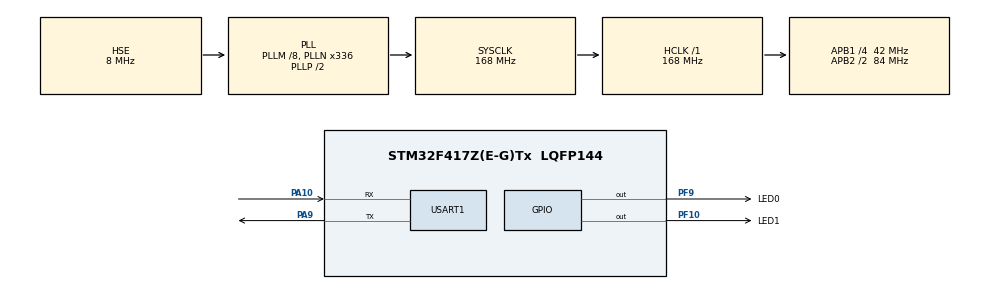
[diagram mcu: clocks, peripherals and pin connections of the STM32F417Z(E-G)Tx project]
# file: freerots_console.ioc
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Dma.Request0=USART1_RX
Dma.Request1=USART1_TX
Dma.USART1_RX.0.Channel=DMA_CHANNEL_4
Dma.USART1_RX.0.Direction=DMA_PERIPH_TO_MEMORY
Dma.USART1_RX.0.FIFOMode=DMA_FIFOMODE_DISABLE
Dma.USART1_RX.0.Instance=DMA2_Stream2
Dma.USART1_RX.0.MemDataAlignment=DMA_MDATAALIGN_BYTE
Dma.USART1_RX.0.MemInc=DMA_MINC_ENABLE
Dma.USART1_RX.0.Mode=DMA_NORMAL
Dma.USART1_RX.0.PeriphDataAlignment=DMA_PDATAALIGN_BYTE
Dma.USART1_RX.0.PeriphInc=DMA_PINC_DISABLE
Dma.USART1_RX.0.Priority=DMA_PRIORITY_LOW
Dma.USART1_TX.1.Channel=DMA_CHANNEL_4
Dma.USART1_TX.1.Direction=DMA_MEMORY_TO_PERIPH
Dma.USART1_TX.1.FIFOMode=DMA_FIFOMODE_DISABLE
Dma.USART1_TX.1.Instance=DMA2_Stream7
Dma.USART1_TX.1.MemDataAlignment=DMA_MDATAALIGN_BYTE
Dma.USART1_TX.1.MemInc=DMA_MINC_ENABLE
Dma.USART1_TX.1.Mode=DMA_NORMAL
Dma.USART1_TX.1.PeriphDataAlignment=DMA_PDATAALIGN_BYTE
Dma.USART1_TX.1.PeriphInc=DMA_PINC_DISABLE
Dma.USART1_TX.1.Priority=DMA_PRIORITY_LOW
FREERTOS.Queues01=Q_CmdReception,3,uint32_t,NULL
FREERTOS.Tasks01=ConsoleTask,0,128,StartTask_Console;LedBlinkyTask,0,128,StartTask_LedBlinky
Mcu.Family=STM32F4
Mcu.Name=STM32F417Z(E-G)Tx
Mcu.Package=LQFP144
NVIC.DMA2_Stream2_IRQn=true\:5\:0\:false
NVIC.DMA2_Stream7_IRQn=true\:5\:0\:false
NVIC.PriorityGroup=NVIC_PRIORITYGROUP_4
NVIC.USART1_IRQn=true\:5\:0\:false
PA10.Mode=Asynchronous
PA10.Signal=USART1_RX
PA9.Mode=Asynchronous
PA9.Signal=USART1_TX
PF10.GPIO_Label=LED1
PF10.Signal=GPIO_Output
PF9.GPIO_Label=LED0
PF9.Signal=GPIO_Output
PH0-OSC_IN.Mode=HSE-External-Oscillator
PH0-OSC_IN.Signal=RCC_OSC_IN
PH1-OSC_OUT.Mode=HSE-External-Oscillator
PH1-OSC_OUT.Signal=RCC_OSC_OUT
ProjectManager.TargetToolchain=MDK-ARM V5
RCC.48MHZClocksFreq_Value=84000000
RCC.AHBFreq_Value=168000000
RCC.APB1CLKDivider=RCC_HCLK_DIV4
RCC.APB1Freq_Value=42000000
RCC.APB1TimFreq_Value=84000000
RCC.APB2CLKDivider=RCC_HCLK_DIV2
RCC.APB2Freq_Value=84000000
RCC.APB2TimFreq_Value=168000000
RCC.CortexFreq_Value=168000000
RCC.HCLKFreq_Value=168000000
RCC.HSE_VALUE=8000000
RCC.HSI_VALUE=16000000
RCC.LSE_VALUE=32768
RCC.PLLM=8
RCC.PLLN=336
RCC.PLLSourceVirtual=RCC_PLLSOURCE_HSE
RCC.SYSCLKFreq_VALUE=168000000
RCC.SYSCLKSource=RCC_SYSCLKSOURCE_PLLCLK
RCC.VCOOutputFreq_Value=336000000
VP_FREERTOS_VS_ENABLE.Mode=Enabled
board=freerots_console

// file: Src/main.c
/**
  ******************************************************************************
  * File Name          : main.c
  * Description        : Main program body
  ******************************************************************************
  *
  * COPYRIGHT(c) 2015 STMicroelectronics
  *
  * Redistribution and use in source and binary forms, with or without modification,
  * are permitted provided that the following conditions are met:
  *   1. Redistributions of source code must retain the above copyright notice,
  *      this list of conditions and the following disclaimer.
  *   2. Redistributions in binary form must reproduce the above copyright notice,
  *      this list of conditions and the following disclaimer in the documentation
  *      and/or other materials provided with the distribution.
  *   3. Neither the name of STMicroelectronics nor the names of its contributors
  *      may be used to endorse or promote products derived from this software
  *      without specific prior written permission.
  *
  * THIS SOFTWARE IS PROVIDED BY THE COPYRIGHT HOLDERS AND CONTRIBUTORS "AS IS"
  * AND ANY EXPRESS OR IMPLIED WARRANTIES, INCLUDING, BUT NOT LIMITED TO, THE
  * IMPLIED WARRANTIES OF MERCHANTABILITY AND FITNESS FOR A PARTICULAR PURPOSE ARE
  * DISCLAIMED. IN NO EVENT SHALL THE COPYRIGHT HOLDER OR CONTRIBUTORS BE LIABLE
  * FOR ANY DIRECT, INDIRECT, INCIDENTAL, SPECIAL, EXEMPLARY, OR CONSEQUENTIAL
  * DAMAGES (INCLUDING, BUT NOT LIMITED TO, PROCUREMENT OF SUBSTITUTE GOODS OR
  * SERVICES; LOSS OF USE, DATA, OR PROFITS; OR BUSINESS INTERRUPTION) HOWEVER
  * CAUSED AND ON ANY THEORY OF LIABILITY, WHETHER IN CONTRACT, STRICT LIABILITY,
  * OR TORT (INCLUDING NEGLIGENCE OR OTHERWISE) ARISING IN ANY WAY OUT OF THE USE
  * OF THIS SOFTWARE, EVEN IF ADVISED OF THE POSSIBILITY OF SUCH DAMAGE.
  *
  ******************************************************************************
  */
#include "stm32f4xx_hal.h"
#include "cmsis_os.h"
#include "dma.h"
#include "usart.h"
#include "gpio.h"

/* USER CODE BEGIN Includes */
#include "ConfigManagement.h"
/* USER CODE END Includes */

/* USER CODE BEGIN PV */
/* Private variables ---------------------------------------------------------*/

/* USER CODE END PV */

void SystemClock_Config(void);
void MX_FREERTOS_Init(void);

/* USER CODE BEGIN PFP */
/* Private function prototypes -----------------------------------------------*/

/* USER CODE END PFP */

int main(void)
{

  /* MCU Configuration----------------------------------------------------------*/

  /* Reset of all peripherals, Initializes the Flash interface and the Systick. */
  HAL_Init();

  /* Configure the system clock */
  SystemClock_Config();

  /* Initialize all configured peripherals */
  MX_GPIO_Init();
  MX_DMA_Init();
  MX_USART1_UART_Init();

  /* USER CODE BEGIN 2 */
	ReadConfiguration();				// Read configurations from the internal flash.
  /* USER CODE END 2 */

  /* Call init function for freertos objects (in freertos.c) */
  MX_FREERTOS_Init();

  /* Start scheduler */
  osKernelStart();

  /* We should never get here as control is now taken by the scheduler */

  /* Infinite loop */
  while (1)
  {

  }

}

/** System Clock Configuration
*/
void SystemClock_Config(void)
{

  RCC_OscInitTypeDef RCC_OscInitStruct;
  RCC_ClkInitTypeDef RCC_ClkInitStruct;

  __PWR_CLK_ENABLE();

  __HAL_PWR_VOLTAGESCALING_CONFIG(PWR_REGULATOR_VOLTAGE_SCALE1);

  RCC_OscInitStruct.OscillatorType = RCC_OSCILLATORTYPE_HSE;
  RCC_OscInitStruct.HSEState = RCC_HSE_ON;
  RCC_OscInitStruct.PLL.PLLState = RCC_PLL_ON;
  RCC_OscInitStruct.PLL.PLLSource = RCC_PLLSOURCE_HSE;
  RCC_OscInitStruct.PLL.PLLM = 8;
  RCC_OscInitStruct.PLL.PLLN = 336;
  RCC_OscInitStruct.PLL.PLLP = RCC_PLLP_DIV2;
  RCC_OscInitStruct.PLL.PLLQ = 4;
  HAL_RCC_OscConfig(&RCC_OscInitStruct);

  RCC_ClkInitStruct.ClockType = RCC_CLOCKTYPE_SYSCLK|RCC_CLOCKTYPE_PCLK1
                              |RCC_CLOCKTYPE_PCLK2;
  RCC_ClkInitStruct.SYSCLKSource = RCC_SYSCLKSOURCE_PLLCLK;
  RCC_ClkInitStruct.AHBCLKDivider = RCC_SYSCLK_DIV1;
  RCC_ClkInitStruct.APB1CLKDivider = RCC_HCLK_DIV4;
  RCC_ClkInitStruct.APB2CLKDivider = RCC_HCLK_DIV2;
  HAL_RCC_ClockConfig(&RCC_ClkInitStruct, FLASH_LATENCY_5);

  HAL_SYSTICK_Config(HAL_RCC_GetHCLKFreq()/1000);

  HAL_SYSTICK_CLKSourceConfig(SYSTICK_CLKSOURCE_HCLK);

  /* SysTick_IRQn interrupt configuration */
  HAL_NVIC_SetPriority(SysTick_IRQn, 0, 0);
}

/************************ (C) COPYRIGHT STMicroelectronics *****END OF FILE****/

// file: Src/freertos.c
/**
  ******************************************************************************
  * File Name          : freertos.c
  * Description        : Code for freertos applications
  ******************************************************************************
  *
  * COPYRIGHT(c) 2015 STMicroelectronics
  *
  * Redistribution and use in source and binary forms, with or without modification,
  * are permitted provided that the following conditions are met:
  *   1. Redistributions of source code must retain the above copyright notice,
  *      this list of conditions and the following disclaimer.
  *   2. Redistributions in binary form must reproduce the above copyright notice,
  *      this list of conditions and the following disclaimer in the documentation
  *      and/or other materials provided with the distribution.
  *   3. Neither the name of STMicroelectronics nor the names of its contributors
  *      may be used to endorse or promote products derived from this software
  *      without specific prior written permission.
  *
  * THIS SOFTWARE IS PROVIDED BY THE COPYRIGHT HOLDERS AND CONTRIBUTORS "AS IS"
  * AND ANY EXPRESS OR IMPLIED WARRANTIES, INCLUDING, BUT NOT LIMITED TO, THE
  * IMPLIED WARRANTIES OF MERCHANTABILITY AND FITNESS FOR A PARTICULAR PURPOSE ARE
  * DISCLAIMED. IN NO EVENT SHALL THE COPYRIGHT HOLDER OR CONTRIBUTORS BE LIABLE
  * FOR ANY DIRECT, INDIRECT, INCIDENTAL, SPECIAL, EXEMPLARY, OR CONSEQUENTIAL
  * DAMAGES (INCLUDING, BUT NOT LIMITED TO, PROCUREMENT OF SUBSTITUTE GOODS OR
  * SERVICES; LOSS OF USE, DATA, OR PROFITS; OR BUSINESS INTERRUPTION) HOWEVER
  * CAUSED AND ON ANY THEORY OF LIABILITY, WHETHER IN CONTRACT, STRICT LIABILITY,
  * OR TORT (INCLUDING NEGLIGENCE OR OTHERWISE) ARISING IN ANY WAY OUT OF THE USE
  * OF THIS SOFTWARE, EVEN IF ADVISED OF THE POSSIBILITY OF SUCH DAMAGE.
  *
  ******************************************************************************
  */

#include "FreeRTOS.h"
#include "task.h"
#include "cmsis_os.h"

/* USER CODE BEGIN Includes */
#include "consoleif.h"
#include "led.h"
/* USER CODE END Includes */

osThreadId ConsoleTaskHandle;
osThreadId LedBlinkyTaskHandle;
osMessageQId Q_CmdReceptionHandle;

void StartTask_Console(void const * argument);
void StartTask_LedBlinky(void const * argument);

void MX_FREERTOS_Init(void); /* (MISRA C 2004 rule 8.1) */

/* Hook prototypes */

/* Init FreeRTOS */

void MX_FREERTOS_Init(void) {

  /* Create the thread(s) */
  /* definition and creation of ConsoleTask */
  osThreadDef(ConsoleTask, StartTask_Console, osPriorityNormal, 0, 128);
  ConsoleTaskHandle = osThreadCreate(osThread(ConsoleTask), NULL);

  /* definition and creation of LedBlinkyTask */
  osThreadDef(LedBlinkyTask, StartTask_LedBlinky, osPriorityNormal, 0, 128);
  LedBlinkyTaskHandle = osThreadCreate(osThread(LedBlinkyTask), NULL);

  /* Create the queue(s) */
  /* definition and creation of Q_CmdReception */
  osMessageQDef(Q_CmdReception, 3, uint32_t);
  Q_CmdReceptionHandle = osMessageCreate(osMessageQ(Q_CmdReception), NULL);

}

/* StartTask_Console function */
void StartTask_Console(void const * argument)
{

  /* USER CODE BEGIN StartTask_Console */
	static uint8_t *pcommand;
	static CommandTypeDef parsedcommand;
	CIFStatus retval_parsecmd;

	ConsoleIF_Init();

  /* Infinite loop */
  for(;;)
  {
		ConsoleIF_WaitForCommand(&pcommand);

		retval_parsecmd = ConsoleIF_ParseCommand(pcommand, &parsedcommand);

		if(retval_parsecmd == aifOK)
		{
			ConsoleIF_ExcuteCommand(&parsedcommand);

			LED_on(1);
			osDelay(5);
			LED_off(1);
		}
		else
		{
			LED_on(1);
			osDelay(5);
			LED_off(1);
			osDelay(10);
			LED_on(1);
			osDelay(5);
			LED_off(1);
		}
  }
  /* USER CODE END StartTask_Console */
}

/* StartTask_LedBlinky function */
void StartTask_LedBlinky(void const * argument)
{
  /* USER CODE BEGIN StartTask_LedBlinky */
  /* Infinite loop */
  for(;;)
  {
		LED_on(0);
    osDelay(50);
		LED_off(0);
		osDelay(950);
  }
  /* USER CODE END StartTask_LedBlinky */
}

/************************ (C) COPYRIGHT STMicroelectronics *****END OF FILE****/
